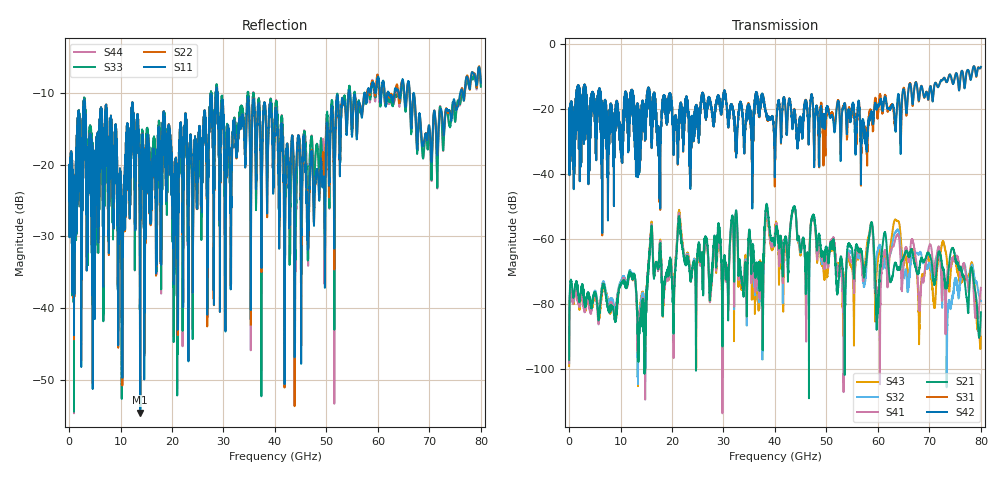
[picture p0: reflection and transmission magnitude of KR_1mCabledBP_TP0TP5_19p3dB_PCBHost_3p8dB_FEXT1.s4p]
!! Reference: shanbhag_3dj_02_2305.pdf
!! CHANNEL DESCRIPTION: TP0_TP5 KR Channel using 1meter Cabled BP, PCB Host
!! CABLE DESCRIPTION: 1meter 26AWG Cable
!! MODEL STATUS: Developmental
!! PORT DEFINITIONS:
!! Port  1  ----->  Side A  Side B  <-----  Port  2
!! Port  3  ----->  Side A  Side B  <-----  Port  4
# HZ S MA R 50.000000
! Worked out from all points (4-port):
!   8000 points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, 10 MHz to 80 GHz, reference 50 ohm
!   strongest paths, dB at 10 MHz, 20.01 GHz, 40.01 GHz, 60.01 GHz, 80 GHz:
!     S42: -28.3, -20.4, -34.9, -19.2, -7.1
!     S31: -28.3, -20.4, -35.8, -22.3, -7.1
!     S21: -97.1, -75.2, -60.9, -78.1, -82.5
!     S41: -98.1, -72.7, -59.0, -74.9, -75.0
!     S32: -98.2, -72.5, -58.7, -63.0, -79.1
!     S43: -99.1, -71.1, -57.5, -65.6, -90.0
!   lowest |S11| = -54.6 dB at 13.84 GHz (marker M1), VSWR 1.00, Z = 50 - j0.185 ohm
!   |S11| at or under -10 dB: start of sweep to 28.55 GHz; 28.85 GHz to 54.3 GHz (25.46 GHz wide, 61.2 % of centre); 66.96 GHz to 75.99 GHz (9.034 GHz wide, 12.6 % of centre) (the widest 3 of 18)
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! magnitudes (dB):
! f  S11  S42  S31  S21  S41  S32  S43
! 10 MHz  -25.0  -28.3  -28.3  -97.1  -98.1  -98.2  -99.1
! 13.84 GHz  -54.6  -32.0  -32.1  -84.4  -81.8  -80.5  -79.6
! 21.39 GHz  -19.2  -24.5  -24.6  -53.0  -52.1  -52.1  -51.1
! 43.68 GHz  -23.1  -21.5  -21.4  -50.0  -50.4  -50.3  -51.0
! 53.38 GHz  -11.3  -18.9  -18.8  -75.9  -88.9  -78.3  -78.1
! 63.59 GHz  -9.6  -22.3  -21.4  -68.0  -59.2  -57.6  -54.3
! 80 GHz  -8.5  -7.1  -7.1  -82.5  -75.0  -79.1  -90.0
